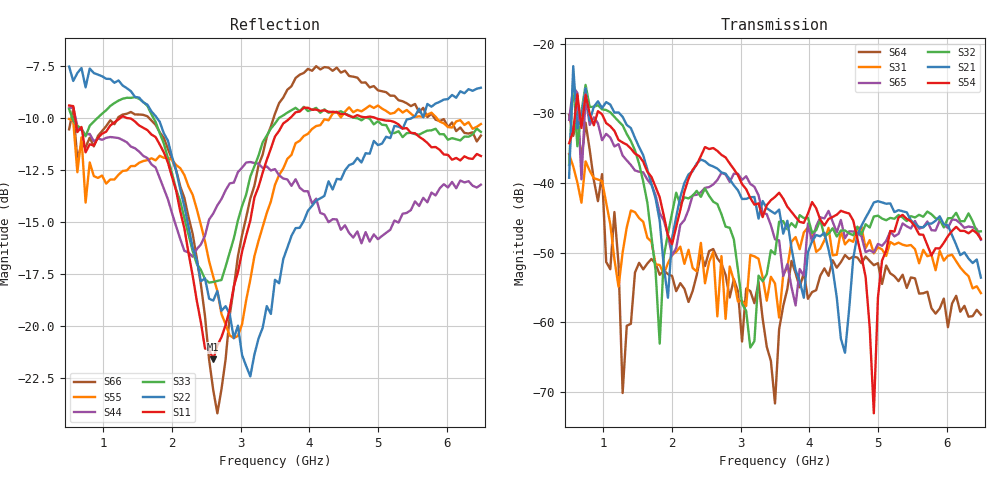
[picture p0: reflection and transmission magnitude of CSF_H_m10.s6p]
!Keysight Technologies,M9804A,MY58100912,A.14.10.03
!Date: Thursday, April 27, 2023 10:28:33
!Correction: S11(C  6-Port  )
!S12(C  6-Port  )
!S13(C  6-Port  )
!S14(C  6-Port  )
!S15(C  6-Port  )
!S16(C  6-Port  )
!S21(C  6-Port  )
!S22(C  6-Port  )
!S23(C  6-Port  )
!S24(C  6-Port  )
!S25(C  6-Port  )
!S26(C  6-Port  )
!S31(C  6-Port  )
!S32(C  6-Port  )
!S33(C  6-Port  )
!S34(C  6-Port  )
!S35(C  6-Port  )
!S36(C  6-Port  )
!S41(C  6-Port  )
!S42(C  6-Port  )
!S43(C  6-Port  )
!S44(C  6-Port  )
!S45(C  6-Port  )
!S46(C  6-Port  )
!S51(C  6-Port  )
!S52(C  6-Port  )
!S53(C  6-Port  )
!S54(C  6-Port  )
!S55(C  6-Port  )
!S56(C  6-Port  )
!S61(C  6-Port  )
!S62(C  6-Port  )
!S63(C  6-Port  )
!S64(C  6-Port  )
!S65(C  6-Port  )
!S66(C  6-Port  )
!S6P File: Measurement: :
# Hz S  RI  R 50
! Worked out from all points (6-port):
!   101 points, 500 MHz to 6.5 GHz, reference 50 ohm
!   strongest paths, dB at 500 MHz, 2 GHz, 3.5 GHz, 5 GHz, 6.5 GHz:
!     S54: -34.3, -48.8, -42.0, -56.4, -48.0
!     S21: -39.3, -48.0, -44.4, -42.6, -53.6
!     S32: -37.4, -44.3, -50.2, -44.7, -47.0
!     S65: -31.0, -50.4, -48.1, -48.8, -48.2
!     S31: -35.9, -50.3, -54.4, -49.2, -55.8
!     S64: -30.2, -53.4, -71.7, -51.5, -58.9
!   lowest |S11| = -21.6 dB at 2.6 GHz (marker M1), VSWR 1.18, Z = 42.6 + j2.04 ohm
!   |S11| at or under -10 dB: 588.2 MHz to 1.24 GHz (651.7 MHz wide, 71.3 % of centre); 1.38 GHz to 3.715 GHz (2.335 GHz wide, 91.7 % of centre); 4.976 GHz to end of sweep
